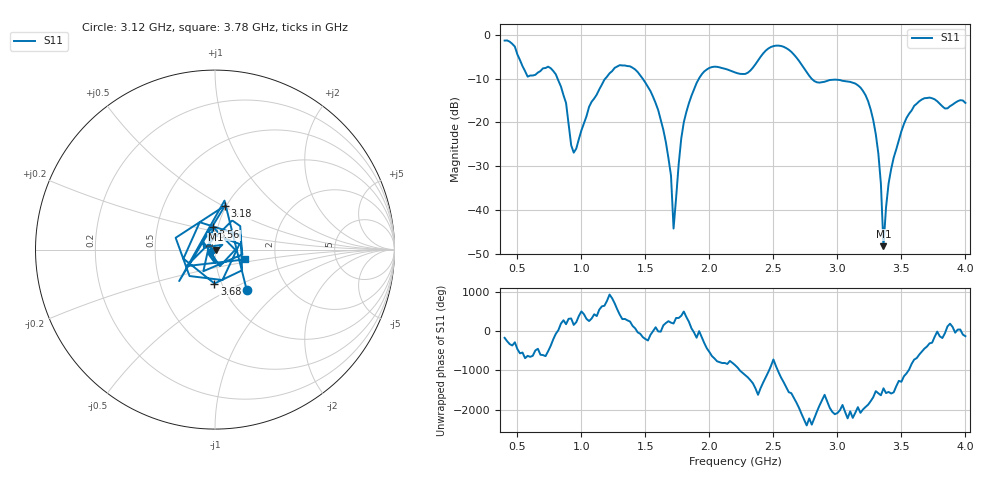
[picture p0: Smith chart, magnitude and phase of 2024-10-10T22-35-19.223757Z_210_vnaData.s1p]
! Created with skrf (http://scikit-rf.org).
# Hz S RI R 50.0
!freq ReS11 ImS11
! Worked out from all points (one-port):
!   181 points, 400 MHz to 4 GHz, reference 50 ohm
!   lowest |S11| = -48.3 dB at 3.36 GHz (marker M1), VSWR 1.01, Z = 50.4 - j0.131 ohm
!   |S11| at or under -10 dB: 813.7 MHz to 1.187 GHz (372.8 MHz wide, 37.3 % of centre); 1.479 GHz to 1.918 GHz (439.2 MHz wide, 25.9 % of centre); 2.798 GHz to end of sweep
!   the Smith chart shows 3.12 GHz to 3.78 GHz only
!   S11 on the Smith chart (normalised r, x): 3.12 GHz: 1.26, -0.61; 3.18 GHz: 0.98, +0.51; 3.56 GHz: 0.95, +0.24; 3.68 GHz: 0.93, -0.36; 3.78 GHz: 1.39, -0.16
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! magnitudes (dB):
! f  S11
! 400 MHz  -1.3
! 580 MHz  -9.5
! 760 MHz  -7.6
! 860 MHz  -13.8
! 940 MHz  -26.9
! 1.08 GHz  -15.3
! 1.3 GHz  -6.9
! 1.6 GHz  -17.2
! 1.7 GHz  -32.2
! 1.72 GHz  -44.3
! 1.76 GHz  -29.6
! 1.8 GHz  -20.0
! 1.92 GHz  -9.9
! 2.2 GHz  -8.6
! 2.5 GHz  -2.6
! 2.66 GHz  -4.5
! 2.82 GHz  -10.6
! 3.1 GHz  -10.7
! 3.12 GHz  -10.9
! 3.18 GHz  -12.0
! 3.3 GHz  -22.7
! 3.34 GHz  -34.1
! 3.36 GHz  -48.3
! 3.42 GHz  -30.7
! 3.56 GHz  -18.0
! 3.68 GHz  -14.5
! 3.78 GHz  -15.2
! 4 GHz  -15.5
